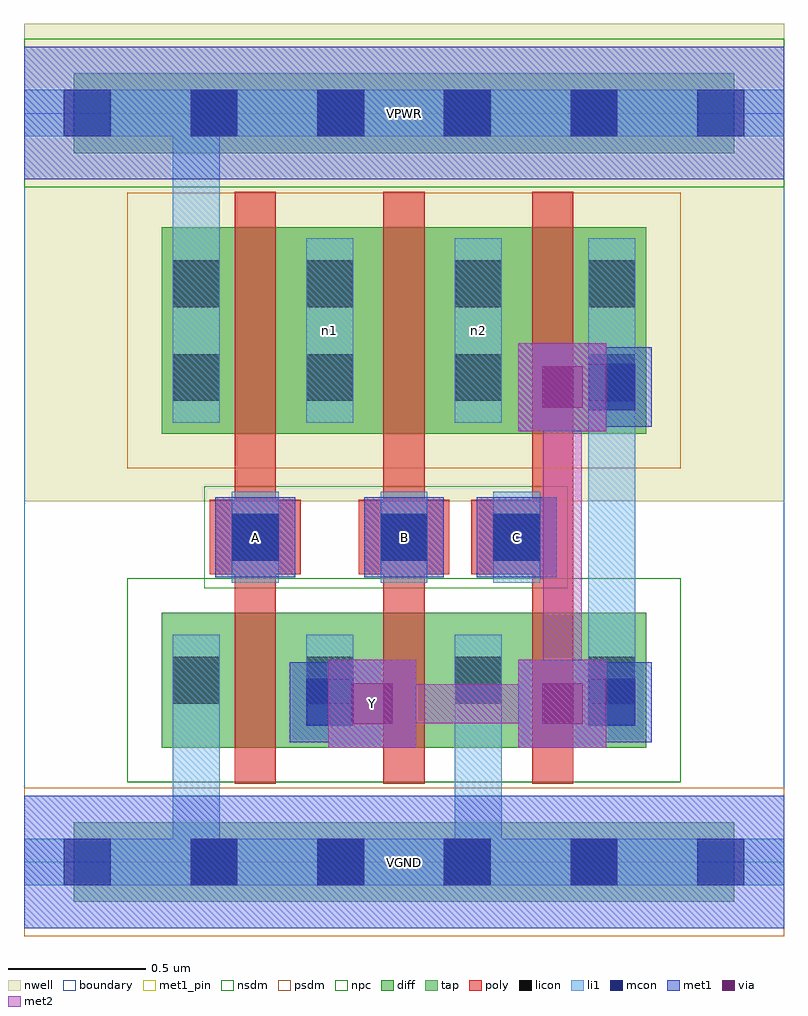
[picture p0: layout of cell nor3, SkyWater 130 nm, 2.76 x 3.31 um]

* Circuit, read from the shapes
.subckt nor3 A B C VGND VPWR Y n1 n2
XM1 Y A VGND VGND sky130_fd_pr__nfet_01v8 w=0.49 l=0.15
XM2 VGND B Y VGND sky130_fd_pr__nfet_01v8 w=0.49 l=0.15
XM3 Y C VGND VGND sky130_fd_pr__nfet_01v8 w=0.49 l=0.15
XM4 n1 A VPWR VPWR sky130_fd_pr__pfet_01v8 w=0.75 l=0.15
XM5 n2 B n1 VPWR sky130_fd_pr__pfet_01v8 w=0.75 l=0.15
XM6 Y C n2 VPWR sky130_fd_pr__pfet_01v8 w=0.75 l=0.15
.ends

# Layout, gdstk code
import gdstk
lib = gdstk.Library(unit=1e-6, precision=1e-09)
def R(c, l, rs):  # rectangles x0, y0, x1, y1
    for r in rs: c.add(gdstk.rectangle(r[:2], r[2:], *l))
def A(c, l, x, y, w, h, nx, ny, dx, dy):  # array of equal rectangles
    R(c, l, [(x+i*dx, y+j*dy, x+i*dx+w, y+j*dy+h) for i in range(nx) for j in range(ny)])
nwell = (64, 20)
diff = (65, 20)
tap = (65, 44)
poly = (66, 20)
licon = (66, 44)
li1 = (67, 20)
mcon = (67, 44)
met1_pin = (68, 16)
met1 = (68, 20)
via = (68, 44)
met2 = (69, 20)
nsdm = (93, 44)
psdm = (94, 20)
npc = (95, 20)
boundary = (235, 4)

nor3 = lib.new_cell('nor3')
R(nor3, nwell, [(0,1.31,2.76,3.045)])
R(nor3, diff, [(0.5,0.415,2.26,0.905), (0.5,1.555,2.26,2.305)])
R(nor3, tap, [(0.18,-0.145,2.58,0.145), (0.18,2.575,2.58,2.865)])
A(nor3, poly, 0.765, 0.285, 0.15, 2.15, 3, 1, 0.54, 0)
R(nor3, poly, [(0.675,1.045,1.005,1.315), (1.215,1.045,1.545,1.315), (1.625,1.045,1.955,1.315)])
A(nor3, licon, 0.605, -0.085, 0.17, 0.17, 4, 2, 0.46, 2.72)
R(nor3, licon, [(0.54,0.575,0.71,0.745), (1.025,0.575,1.195,0.745), (1.565,0.575,1.735,0.745), (2.05,0.575,2.22,0.745), (0.755,1.095,0.925,1.265), (1.295,1.095,1.465,1.265), (1.705,1.095,1.875,1.265), (0.54,1.675,0.71,1.845), (1.025,1.675,1.195,1.845), (1.565,1.675,1.735,1.845), (2.05,1.675,2.22,1.845), (0.54,2.015,0.71,2.185), (1.025,2.015,1.195,2.185), (1.565,2.015,1.735,2.185), (2.05,2.015,2.22,2.185)])
R(nor3, li1, [(0,-0.085,2.76,0.085), (0.54,-0.085,0.71,0.825), (1.565,-0.085,1.735,0.825), (0.54,0.495,0.71,0.825), (1.025,0.495,1.195,0.825), (1.565,0.495,1.735,0.825), (2.05,0.495,2.22,0.825), (2.05,0.495,2.22,2.265), (0.755,1.015,0.925,1.345), (1.295,1.015,1.465,1.345), (1.705,1.015,1.875,1.345), (0.54,1.595,0.71,2.265), (0.54,1.595,0.71,2.805), (1.025,1.595,1.195,2.265), (1.565,1.595,1.735,2.265), (2.05,1.595,2.22,2.265), (0,2.635,2.76,2.805)])
A(nor3, mcon, 0.145, -0.085, 0.17, 0.17, 6, 2, 0.46, 2.72)
R(nor3, mcon, [(1.025,0.495,1.195,0.665), (2.05,0.495,2.22,0.665), (0.755,1.095,0.925,1.265), (1.295,1.095,1.465,1.265), (1.705,1.095,1.875,1.265), (2.05,1.64,2.22,1.81)])
R(nor3, met1_pin, [(0,-0.24,2.76,0.24), (1.105,0.415,1.425,0.735), (0.695,1.035,0.985,1.325), (1.235,1.035,1.525,1.325), (1.645,1.035,1.935,1.325), (0,2.48,2.76,2.96)])
R(nor3, met1, [(0,-0.24,2.76,0.24), (1.105,0.415,1.425,0.735), (1.795,0.415,2.115,0.735), (0.965,0.435,1.255,0.725), (1.99,0.435,2.28,0.725), (1.195,0.505,1.335,0.65), (1.885,0.505,2.025,0.65), (1.04,0.51,1.335,0.65), (1.885,0.51,2.205,0.65), (0.695,1.035,0.985,1.325), (1.235,1.035,1.525,1.325), (1.645,1.035,1.935,1.325), (1.795,1.565,2.115,1.885), (1.99,1.58,2.28,1.87), (1.885,1.655,2.205,1.795), (0,2.48,2.76,2.96)])
R(nor3, via, [(1.19,0.5,1.34,0.65), (1.88,0.5,2.03,0.65), (1.88,1.65,2.03,1.8)])
R(nor3, met2, [(1.105,0.415,1.425,0.735), (1.795,0.415,2.115,0.735), (1.195,0.505,2.025,0.645), (1.885,0.505,2.025,1.795), (1.795,1.565,2.115,1.885)])
R(nor3, nsdm, [(0.375,0.29,2.385,1.03), (0,2.45,2.76,2.99)])
R(nor3, psdm, [(0,-0.27,2.76,0.27), (0.375,1.43,2.385,2.43)])
R(nor3, npc, [(0.655,0.995,1.975,1.365)])
R(nor3, boundary, [(0,0,2.76,2.72)])
nor3.add(gdstk.Label('n1', (1.11,1.93), layer=67, texttype=5))
nor3.add(gdstk.Label('n2', (1.65,1.93), layer=67, texttype=5))
nor3.add(gdstk.Label('A', (0.84,1.18), layer=68, texttype=5))
nor3.add(gdstk.Label('B', (1.38,1.18), layer=68, texttype=5))
nor3.add(gdstk.Label('C', (1.79,1.18), layer=68, texttype=5))
nor3.add(gdstk.Label('Y', (1.265,0.575), layer=68, texttype=5))
nor3.add(gdstk.Label('VPWR', (1.38,2.72), layer=68, texttype=5))
nor3.add(gdstk.Label('VGND', (1.38,0), layer=68, texttype=5))
nor3.add(gdstk.Label('A', (0.84,1.18), layer=68, texttype=16))
nor3.add(gdstk.Label('B', (1.38,1.18), layer=68, texttype=16))
nor3.add(gdstk.Label('C', (1.79,1.18), layer=68, texttype=16))
nor3.add(gdstk.Label('Y', (1.265,0.575), layer=68, texttype=16))
nor3.add(gdstk.Label('VPWR', (1.38,2.72), layer=68, texttype=16))
nor3.add(gdstk.Label('VGND', (1.38,0), layer=68, texttype=16))

lib.write_gds('nor3.gds')
